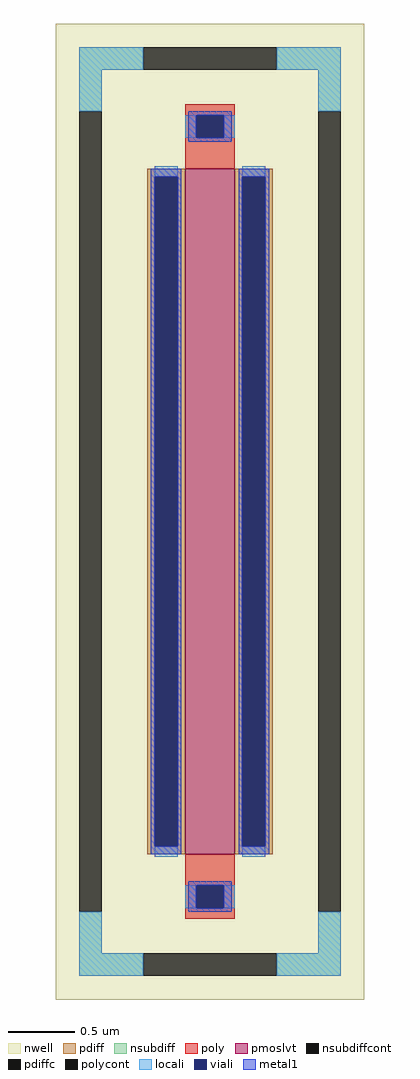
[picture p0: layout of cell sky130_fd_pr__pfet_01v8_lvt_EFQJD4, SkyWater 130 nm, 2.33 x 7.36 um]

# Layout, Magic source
magic
tech sky130A
magscale 1 2
<< nwell >>
rect -233 -736 233 736
<< pmoslvt >>
rect -37 -517 37 517
<< pdiff >>
rect -95 505 -37 517
rect -95 -505 -83 505
rect -49 -505 -37 505
rect -95 -517 -37 -505
rect 37 505 95 517
rect 37 -505 49 505
rect 83 -505 95 505
rect 37 -517 95 -505
<< pdiffc >>
rect -83 -505 -49 505
rect 49 -505 83 505
<< nsubdiff >>
rect -197 666 -101 700
rect 101 666 197 700
rect -197 604 -163 666
rect 163 604 197 666
rect -197 -666 -163 -604
rect 163 -666 197 -604
rect -197 -700 -101 -666
rect 101 -700 197 -666
<< nsubdiffcont >>
rect -101 666 101 700
rect -197 -604 -163 604
rect 163 -604 197 604
rect -101 -700 101 -666
<< poly >>
rect -37 598 37 614
rect -37 564 -21 598
rect 21 564 37 598
rect -37 517 37 564
rect -37 -564 37 -517
rect -37 -598 -21 -564
rect 21 -598 37 -564
rect -37 -614 37 -598
<< polycont >>
rect -21 564 21 598
rect -21 -598 21 -564
<< locali >>
rect -197 666 -101 700
rect 101 666 197 700
rect -197 604 -163 666
rect 163 604 197 666
rect -37 564 -21 598
rect 21 564 37 598
rect -83 505 -49 521
rect -83 -521 -49 -505
rect 49 505 83 521
rect 49 -521 83 -505
rect -37 -598 -21 -564
rect 21 -598 37 -564
rect -197 -666 -163 -604
rect 163 -666 197 -604
rect -197 -700 -101 -666
rect 101 -700 197 -666
<< viali >>
rect -21 564 21 598
rect -83 -505 -49 505
rect 49 -505 83 505
rect -21 -598 21 -564
<< metal1 >>
rect -33 598 33 604
rect -33 564 -21 598
rect 21 564 33 598
rect -33 558 33 564
rect -89 505 -43 517
rect -89 -505 -83 505
rect -49 -505 -43 505
rect -89 -517 -43 -505
rect 43 505 89 517
rect 43 -505 49 505
rect 83 -505 89 505
rect 43 -517 89 -505
rect -33 -564 33 -558
rect -33 -598 -21 -564
rect 21 -598 33 -564
rect -33 -604 33 -598
<< properties >>
string FIXED_BBOX -180 -683 180 683
string gencell sky130_fd_pr__pfet_01v8_lvt
string library sky130
string parameters w 5.17 l 0.37 m 1 nf 1 diffcov 100 polycov 100 guard 1 glc 1 grc 1 gtc 1 gbc 1 tbcov 100 rlcov 100 topc 1 botc 1 poverlap 0 doverlap 1 lmin 0.35 wmin 0.42 compatible {sky130_fd_pr__pfet_01v8  sky130_fd_pr__pfet_01v8_lvt sky130_fd_pr__pfet_01v8_hvt  sky130_fd_pr__pfet_g5v0d10v5} full_metal 1 viasrc 100 viadrn 100 viagate 100 viagb 0 viagr 0 viagl 0 viagt 0
<< end >>
